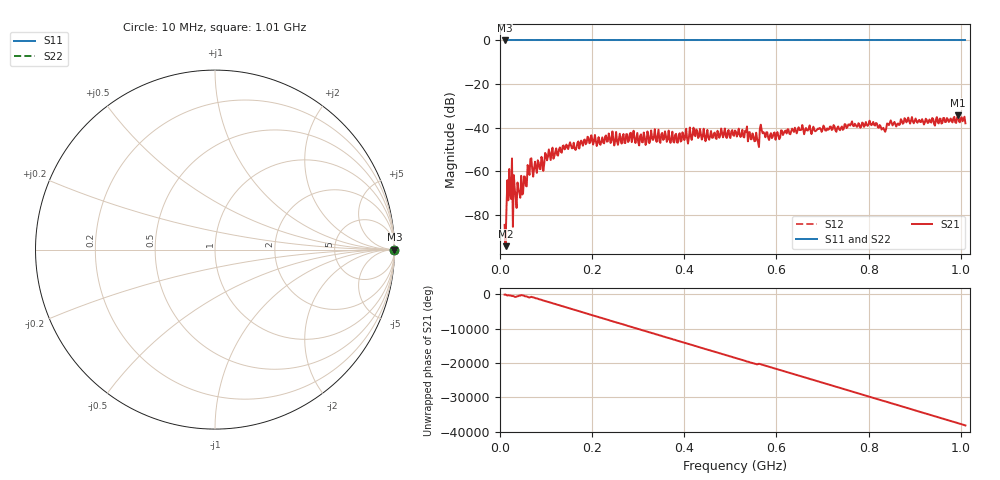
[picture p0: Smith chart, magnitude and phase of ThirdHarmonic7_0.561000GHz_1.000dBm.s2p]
! 8/17/2025 5:09:44 PM
! C:\ANRITSUVNA\TEMP\TEMP.S2P
! CHANNEL.1
! TR.MEASUREMENT
! RAW.DATA
! RF.CORRECTION.OFF
! AVERAGING.OFF
! IF.BANDWIDTH: 5KHZ
! SWEEPTYPE:  FREQ.SWEEP(Linear)
! Reference Plane Port Info
! PORT:  PORT1  PORT2
! DISTANCE:  0  m  0  m
! TIME:  0  s  0  s
! PHASE.OFFSET:  0  deg.  0  deg.
! LOSS:  0  dB  0  dB
! REF.LOSS:  0  dB  0  dB
! REF.FREQ:  0  Hz  0  Hz
! Power Info
! POWER:  -20  dBm  -20  dBm
! EFF.POWER:  -20  dBm  -20  dBm
! SOURCE.ATTEN:  0  dB  0  dB
! TEST.ATTEN:  0  dB  0  dB
# GHZ S RI R 50.0
! FREQ.GHZ  S11RE  S11IM  S21RE  S21IM  S12RE  S12IM  S22RE  S22IM
!; PortSelection: Port_12
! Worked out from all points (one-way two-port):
!   501 points, 10 MHz to 1.01 GHz, reference 50 ohm
!   highest |S21| = -34.42 dB at 994 MHz (marker M1); lowest = -94.4 dB at 12 MHz (marker M2)
!   lowest |S11| = 0.0 dB at 10 MHz (marker M3)
!   |S11| at or under -10 dB: nowhere
!   |S22| runs from 0.0 to 0.0 dB; largest |S21 - S12| = 1
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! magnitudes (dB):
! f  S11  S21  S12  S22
! 10 MHz  0.0  -84.6  0.0  0.0
! 12 MHz  0.0  -94.4  0.0  0.0
! 22 MHz  0.0  -70.7  0.0  0.0
! 30 MHz  0.0  -61.8  0.0  0.0
! 32 MHz  0.0  -68.1  0.0  0.0
! 40 MHz  0.0  -68.5  0.0  0.0
! 54 MHz  0.0  -62.5  0.0  0.0
! 64 MHz  0.0  -61.7  0.0  0.0
! 76 MHz  0.0  -55.6  0.0  0.0
! 102 MHz  0.0  -55.0  0.0  0.0
! 178 MHz  0.0  -47.1  0.0  0.0
! 344 MHz  0.0  -40.9  0.0  0.0
! 510 MHz  0.0  -41.3  0.0  0.0
! 558 MHz  0.0  -45.2  0.0  0.0
! 568 MHz  0.0  -41.3  0.0  0.0
! 586 MHz  0.0  -43.5  0.0  0.0
! 678 MHz  0.0  -41.4  0.0  0.0
! 806 MHz  0.0  -38.9  0.0  0.0
! 832 MHz  0.0  -40.1  0.0  0.0
! 844 MHz  0.0  -38.9  0.0  0.0
! 994 MHz  0.0  -34.4  0.0  0.0
! 1.01 GHz  0.0  -38.0  0.0  0.0
